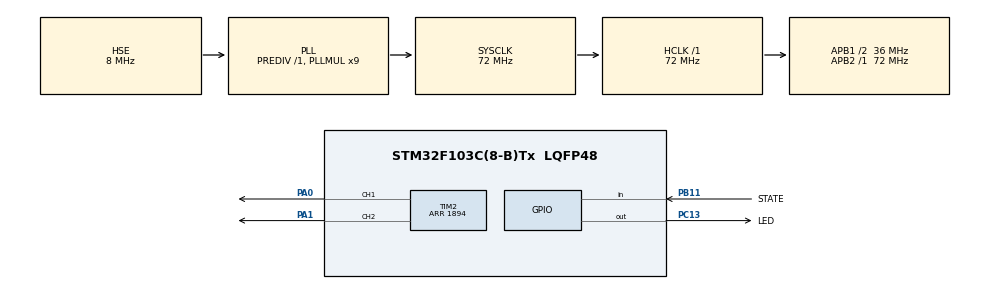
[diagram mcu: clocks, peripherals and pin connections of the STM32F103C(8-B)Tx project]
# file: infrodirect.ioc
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Mcu.Family=STM32F1
Mcu.Name=STM32F103C(8-B)Tx
Mcu.Package=LQFP48
NVIC.PriorityGroup=NVIC_PRIORITYGROUP_4
PA0-WKUP.Signal=S_TIM2_CH1_ETR
PA1.Signal=S_TIM2_CH2
PA13.Mode=JTAG_5_pins
PA13.Signal=SYS_JTMS-SWDIO
PA14.Mode=JTAG_5_pins
PA14.Signal=SYS_JTCK-SWCLK
PA15.Mode=JTAG_5_pins
PA15.Signal=SYS_JTDI
PB11.GPIO_Label=STATE
PB11.GPIO_PuPd=GPIO_PULLUP
PB11.Signal=GPIO_Input
PB3.Mode=JTAG_5_pins
PB3.Signal=SYS_JTDO-TRACESWO
PB4.Mode=JTAG_5_pins
PB4.Signal=SYS_NJTRST
PC13-TAMPER-RTC.GPIO_Label=LED
PC13-TAMPER-RTC.Signal=GPIO_Output
PD0-OSC_IN.Mode=HSE-External-Oscillator
PD0-OSC_IN.Signal=RCC_OSC_IN
PD1-OSC_OUT.Mode=HSE-External-Oscillator
PD1-OSC_OUT.Signal=RCC_OSC_OUT
ProjectManager.HeapSize=0x200
ProjectManager.StackSize=0x400
ProjectManager.TargetToolchain=MDK-ARM V5.27
RCC.AHBFreq_Value=72000000
RCC.APB1CLKDivider=RCC_HCLK_DIV2
RCC.APB1Freq_Value=36000000
RCC.APB1TimFreq_Value=72000000
RCC.APB2Freq_Value=72000000
RCC.APB2TimFreq_Value=72000000
RCC.HCLKFreq_Value=72000000
RCC.PLLMUL=RCC_PLL_MUL9
RCC.PLLSourceVirtual=RCC_PLLSOURCE_HSE
RCC.SYSCLKFreq_VALUE=72000000
RCC.SYSCLKSource=RCC_SYSCLKSOURCE_PLLCLK
RCC.USBFreq_Value=72000000
SH.S_TIM2_CH1_ETR.0=TIM2_CH1,PWM Generation1 CH1
SH.S_TIM2_CH2.0=TIM2_CH2,PWM Generation2 CH2
TIM1.Prescaler=71
TIM2.Channel-PWM\ Generation1\ CH1=TIM_CHANNEL_1
TIM2.Channel-PWM\ Generation2\ CH2=TIM_CHANNEL_2
TIM2.Period=1894
TIM2.Pulse-PWM\ Generation1\ CH1=948
TIM2.Pulse-PWM\ Generation2\ CH2=948
VP_TIM1_VS_ClockSourceINT.Mode=Internal
board=custom

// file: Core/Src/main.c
/* USER CODE BEGIN Header */
/**
  ******************************************************************************
  * @file           : main.c
  * @brief          : Main program body
  ******************************************************************************
  * @attention
  *
  * Copyright (c) 2023 STMicroelectronics.
  * All rights reserved.
  *
  * This software is licensed under terms that can be found in the LICENSE file
  * in the root directory of this software component.
  * If no LICENSE file comes with this software, it is provided AS-IS.
  *
  ******************************************************************************
  */
/* USER CODE END Header */
#include "main.h"
#include "tim.h"
#include "gpio.h"

/* USER CODE BEGIN Includes */
#include <string.h>
#include "stdio.h"
//#include "delay.h"
/* USER CODE END Includes */

/* USER CODE BEGIN PV */
uint32_t send_Code = 0;
//uint8_t addr = 0x00;
//uint8_t data = 0x31;

uint8_t userdata1 = 0x57, userdate2 = 0x59, userdata3 = 0x58;
uint8_t data1 = 0x30, data2 = 0x32;     //test data "2" keycode = 0x30,0x32

uint8_t wxyxdata = 0x33;

int channel[12] = {1, 2, 3, 4, 5, 6, 88, 95, 152, 153, 154, 155}; //高清+标清  12个频道
int channel6[6] = {1, 2, 3, 4, 5, 6}; //6个高清或6个标清频道
/* USER CODE END PV */

void SystemClock_Config(void);
/* USER CODE BEGIN PFP */

/**
 * @brief       延时nus
 * @param       nus: 要延时的us数.
 * @note        nus取值范围 : 0~190887435(最大值即 2^32 / fac_us @fac_us = 21)
 * @retval      无
 */
void delay_us(uint32_t nus)
{
    uint32_t ticks;
    uint32_t told, tnow, tcnt = 0;
    uint32_t reload = SysTick->LOAD;        /* LOAD的值 */
    ticks = nus * 72;                 /* 需要的节拍数 */
    told = SysTick->VAL;                    /* 刚进入时的计数器值 */
    while (1)
    {
        tnow = SysTick->VAL;
        if (tnow != told)
        {
            if (tnow < told)
            {
                tcnt += told - tnow;        /* 这里注意一下SYSTICK是一个递减的计数器就可以了 */
            }
            else
            {
                tcnt += reload - tnow + told;
            }
            told = tnow;
            if (tcnt >= ticks)
            {
                break;                      /* 时间超过/等于要延迟的时间,则退出 */
            }
        }
    }
}

// 无锡有线红外遥控器私有协议  40bit
void infrasend_wxyx(uint8_t bdata){
     HAL_TIM_PWM_Start(&htim2,TIM_CHANNEL_2);        //start1
     HAL_TIM_PWM_Start(&htim2,TIM_CHANNEL_1);        //start1

    delay_us(3640);                                 //TVOS portocol
    HAL_TIM_PWM_Stop(&htim2,TIM_CHANNEL_2);
    HAL_TIM_PWM_Stop(&htim2,TIM_CHANNEL_1);

    delay_us(1800);                                 //TVOS portocol

    send_Code = userdata3<< 16 | userdate2<<8 | userdata1;
    for(int i=0; i<24; i++){
        HAL_TIM_PWM_Start(&htim2,TIM_CHANNEL_2);
        HAL_TIM_PWM_Start(&htim2,TIM_CHANNEL_1);

        delay_us(560);
        HAL_TIM_PWM_Stop(&htim2,TIM_CHANNEL_2);
        HAL_TIM_PWM_Stop(&htim2,TIM_CHANNEL_1);

        if((send_Code>>i) & 0x01){
            delay_us(1120);
        }
        else
            delay_us(560);
    }

    HAL_TIM_PWM_Start(&htim2,TIM_CHANNEL_2);        //start2
    HAL_TIM_PWM_Start(&htim2,TIM_CHANNEL_1);        //start2

    delay_us(3640);                                 //TVOS portocol
    HAL_TIM_PWM_Stop(&htim2,TIM_CHANNEL_2);
    HAL_TIM_PWM_Stop(&htim2,TIM_CHANNEL_1);

    delay_us(1800);                                 //TVOS portocol

    send_Code = bdata<<8 | data1;
    for(int i=0; i<16; i++){
        HAL_TIM_PWM_Start(&htim2,TIM_CHANNEL_2);
        HAL_TIM_PWM_Start(&htim2,TIM_CHANNEL_1);

        delay_us(560);
        HAL_TIM_PWM_Stop(&htim2,TIM_CHANNEL_2);
        HAL_TIM_PWM_Stop(&htim2,TIM_CHANNEL_1);

        if((send_Code>>i) & 0x01)
            delay_us(1120);
        else
            delay_us(560);
    }

    HAL_TIM_PWM_Start(&htim2,TIM_CHANNEL_2);        //stop，必须！！！！
    HAL_TIM_PWM_Start(&htim2,TIM_CHANNEL_1);        //stop，必须！！！！

    delay_us(560);
    HAL_TIM_PWM_Stop(&htim2,TIM_CHANNEL_2);
    HAL_TIM_PWM_Stop(&htim2,TIM_CHANNEL_1);

    delay_us(54000);

//    HAL_TIM_PWM_Start(&htim2,TIM_CHANNEL_2);        //repeat code
//    delay_us(3640);             //TVOS portocol
//    HAL_TIM_PWM_Stop(&htim2,TIM_CHANNEL_2);
//    delay_us(3640);
//    HAL_TIM_PWM_Start(&htim2,TIM_CHANNEL_2);
//    delay_us(560);
//    HAL_TIM_PWM_Stop(&htim2,TIM_CHANNEL_2);
//    delay_us(50000);
//    delay_us(50160);
}

/* USER CODE END PFP */

int main(void)
{

  /* MCU Configuration--------------------------------------------------------*/

  /* Reset of all peripherals, Initializes the Flash interface and the Systick. */
  HAL_Init();

  /* Configure the system clock */
  SystemClock_Config();

  /* Initialize all configured peripherals */
  MX_GPIO_Init();
  MX_TIM1_Init();
  MX_TIM2_Init();
  /* USER CODE BEGIN 2 */
    TIM2->ARR = 1894;
    TIM2->CCR2 = TIM2->ARR/2;                           //占空比50%

    TIM2->CCR1 = TIM2->ARR/2;                           //占空比50%

  /* USER CODE END 2 */

  /* Infinite loop */
  /* USER CODE BEGIN WHILE */
  int  channelcount = 0;
  char chstring[] = "168";
  int j;
  while (1)
  {
    if(HAL_GPIO_ReadPin(GPIOB, GPIO_PIN_11)){
        if (channelcount >=  sizeof(channel)/sizeof(int)){     //channnelcount 为每个频道号的计数，一个循环发送一个频道
            channelcount = 0;}
    }else{
        if (channelcount >=  sizeof(channel6)/sizeof(int)){     //channnelcount 为每个频道号的计数，一个循环发送一个频道
            channelcount = 0;}
    }
    if(HAL_GPIO_ReadPin(GPIOB, GPIO_PIN_11)){
        sprintf(chstring, "%d", channel[channelcount]);     //将频道号整数转换成字符串
    }else{
        sprintf(chstring, "%d", channel6[channelcount]);     //将频道号整数转换成字符串
    }

  for (j = 0; j < strlen(chstring); j++) {            //将频道号字符串逐个字提取，并发送至指定地址
    infrasend_wxyx(chstring[j]);                       //发送无锡有线电视标准的机顶盒控制信号；为定制
    HAL_Delay(800);

    }

    HAL_GPIO_TogglePin(LED_GPIO_Port,LED_Pin);
    HAL_Delay(50);
    HAL_GPIO_TogglePin(LED_GPIO_Port,LED_Pin);
    HAL_Delay(50);
    HAL_GPIO_TogglePin(LED_GPIO_Port,LED_Pin);
    HAL_Delay(50);
    HAL_GPIO_TogglePin(LED_GPIO_Port,LED_Pin);

    channelcount++;

    HAL_Delay(3000);
    HAL_GPIO_TogglePin(LED_GPIO_Port,LED_Pin);
    HAL_Delay(3000);
    HAL_GPIO_TogglePin(LED_GPIO_Port,LED_Pin);
    HAL_Delay(3000);
    HAL_GPIO_TogglePin(LED_GPIO_Port,LED_Pin);
    HAL_Delay(3000);
    HAL_GPIO_TogglePin(LED_GPIO_Port,LED_Pin);
    HAL_Delay(3000);
    HAL_GPIO_TogglePin(LED_GPIO_Port,LED_Pin);

    HAL_GPIO_WritePin(LED_GPIO_Port, LED_Pin, GPIO_PIN_SET);

    /* USER CODE END WHILE */

    /* USER CODE BEGIN 3 */

//    HAL_TIM_PWM_Start(&htim2,TIM_CHANNEL_2);        //test 38KHz 波形  1
//    HAL_TIM_PWM_Start(&htim2,TIM_CHANNEL_1);        //start1
//
//    delay_us(5000);                                 //TVOS portocol
//    HAL_TIM_PWM_Stop(&htim2,TIM_CHANNEL_2);         //波形 0
//    HAL_TIM_PWM_Stop(&htim2,TIM_CHANNEL_1);

  }
  /* USER CODE END 3 */
}

void SystemClock_Config(void)
{
  RCC_OscInitTypeDef RCC_OscInitStruct = {0};
  RCC_ClkInitTypeDef RCC_ClkInitStruct = {0};

  /** Initializes the RCC Oscillators according to the specified parameters
  * in the RCC_OscInitTypeDef structure.
  */
  RCC_OscInitStruct.OscillatorType = RCC_OSCILLATORTYPE_HSE;
  RCC_OscInitStruct.HSEState = RCC_HSE_ON;
  RCC_OscInitStruct.HSEPredivValue = RCC_HSE_PREDIV_DIV1;
  RCC_OscInitStruct.HSIState = RCC_HSI_ON;
  RCC_OscInitStruct.PLL.PLLState = RCC_PLL_ON;
  RCC_OscInitStruct.PLL.PLLSource = RCC_PLLSOURCE_HSE;
  RCC_OscInitStruct.PLL.PLLMUL = RCC_PLL_MUL9;
  if (HAL_RCC_OscConfig(&RCC_OscInitStruct) != HAL_OK)
  {
    Error_Handler();
  }

  /** Initializes the CPU, AHB and APB buses clocks
  */
  RCC_ClkInitStruct.ClockType = RCC_CLOCKTYPE_HCLK|RCC_CLOCKTYPE_SYSCLK
                              |RCC_CLOCKTYPE_PCLK1|RCC_CLOCKTYPE_PCLK2;
  RCC_ClkInitStruct.SYSCLKSource = RCC_SYSCLKSOURCE_PLLCLK;
  RCC_ClkInitStruct.AHBCLKDivider = RCC_SYSCLK_DIV1;
  RCC_ClkInitStruct.APB1CLKDivider = RCC_HCLK_DIV2;
  RCC_ClkInitStruct.APB2CLKDivider = RCC_HCLK_DIV1;

  if (HAL_RCC_ClockConfig(&RCC_ClkInitStruct, FLASH_LATENCY_2) != HAL_OK)
  {
    Error_Handler();
  }
}

void Error_Handler(void)
{
  __disable_irq();
  while (1)
  {
  }
}
